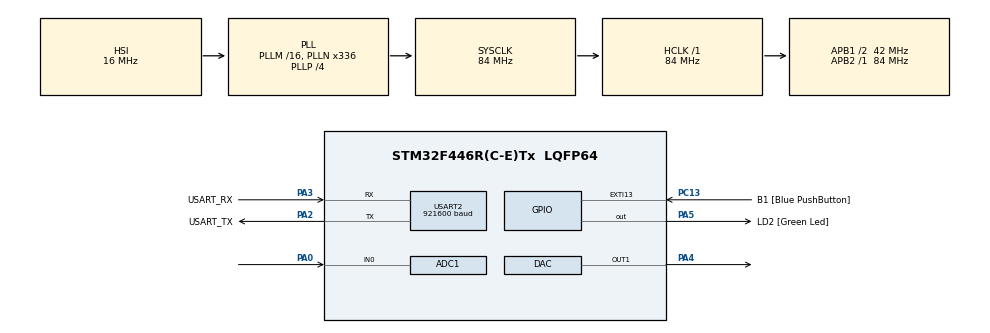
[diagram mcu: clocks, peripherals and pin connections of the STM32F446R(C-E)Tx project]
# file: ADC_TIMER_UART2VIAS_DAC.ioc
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ADC1.Channel-0\#ChannelRegularConversion=ADC_CHANNEL_0
ADC1.NbrOfConversionFlag=1
ADC1.Rank-0\#ChannelRegularConversion=1
ADC1.SamplingTime-0\#ChannelRegularConversion=ADC_SAMPLETIME_3CYCLES
ADC1.master=1
Dma.Request0=USART2_RX
Dma.USART2_RX.0.Direction=DMA_PERIPH_TO_MEMORY
Dma.USART2_RX.0.FIFOMode=DMA_FIFOMODE_DISABLE
Dma.USART2_RX.0.Instance=DMA1_Stream5
Dma.USART2_RX.0.MemDataAlignment=DMA_MDATAALIGN_BYTE
Dma.USART2_RX.0.MemInc=DMA_MINC_ENABLE
Dma.USART2_RX.0.Mode=DMA_NORMAL
Dma.USART2_RX.0.PeriphDataAlignment=DMA_PDATAALIGN_BYTE
Dma.USART2_RX.0.PeriphInc=DMA_PINC_DISABLE
Dma.USART2_RX.0.Priority=DMA_PRIORITY_LOW
Mcu.Family=STM32F4
Mcu.Name=STM32F446R(C-E)Tx
Mcu.Package=LQFP64
NVIC.DMA1_Stream5_IRQn=true\:0\:0\:false\:false\:true\:false\:true\:true
NVIC.PriorityGroup=NVIC_PRIORITYGROUP_1
NVIC.TIM1_UP_TIM10_IRQn=true\:1\:0\:true\:false\:true\:true\:true\:true
NVIC.USART2_IRQn=true\:0\:0\:true\:false\:true\:true\:true\:true
PA0-WKUP.Signal=ADCx_IN0
PA13.GPIO_Label=TMS
PA13.Mode=Serial_Wire
PA13.Signal=SYS_JTMS-SWDIO
PA14.GPIO_Label=TCK
PA14.Mode=Serial_Wire
PA14.Signal=SYS_JTCK-SWCLK
PA2.GPIO_Label=USART_TX
PA2.Mode=Asynchronous
PA2.Signal=USART2_TX
PA3.GPIO_Label=USART_RX
PA3.Mode=Asynchronous
PA3.Signal=USART2_RX
PA4.Signal=COMP_DAC1_group
PA5.GPIO_Label=LD2 [Green Led]
PA5.Signal=GPIO_Output
PB3.GPIO_Label=SWO
PB3.Signal=SYS_JTDO-SWO
PC13.GPIO_Label=B1 [Blue PushButton]
PC13.GPIO_ModeDefaultEXTI=GPIO_MODE_IT_FALLING
PC13.Signal=GPXTI13
PC14-OSC32_IN.Mode=LSE-External-Oscillator
PC14-OSC32_IN.Signal=RCC_OSC32_IN
PC15-OSC32_OUT.Mode=LSE-External-Oscillator
PC15-OSC32_OUT.Signal=RCC_OSC32_OUT
PH0-OSC_IN.Mode=HSE-External-Oscillator
PH0-OSC_IN.Signal=RCC_OSC_IN
PH1-OSC_OUT.Mode=HSE-External-Oscillator
PH1-OSC_OUT.Signal=RCC_OSC_OUT
ProjectManager.HeapSize=0x200
ProjectManager.StackSize=0x400
ProjectManager.TargetToolchain=STM32CubeIDE
RCC.48MHZClocksFreq_Value=84000000
RCC.AHBFreq_Value=84000000
RCC.APB1CLKDivider=RCC_HCLK_DIV2
RCC.APB1Freq_Value=42000000
RCC.APB1TimFreq_Value=84000000
RCC.APB2Freq_Value=84000000
RCC.APB2TimFreq_Value=84000000
RCC.CortexFreq_Value=84000000
RCC.FLatency-AdvancedSettings=FLASH_LATENCY_2
RCC.HCLKFreq_Value=84000000
RCC.HSE_VALUE=8000000
RCC.HSI_VALUE=16000000
RCC.PLLN=336
RCC.PLLP=RCC_PLLP_DIV4
RCC.SYSCLKFreq_VALUE=84000000
RCC.SYSCLKSource=RCC_SYSCLKSOURCE_PLLCLK
RCC.USBFreq_Value=168000000
RCC.VCOOutputFreq_Value=336000000
SH.ADCx_IN0.0=ADC1_IN0,IN0
SH.COMP_DAC1_group.0=DAC_OUT1,DAC_OUT1
TIM10.Prescaler=8399
USART2.BaudRate=921600
USART2.VirtualMode=VM_ASYNC
VP_TIM10_VS_ClockSourceINT.Mode=Enable_Timer
board=NUCLEO-F446RE

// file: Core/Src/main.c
/* USER CODE BEGIN Header */
/*
 * ADC_TIMER_UART
 * Proyecto que muestra el uso del ADC en el STM32F446RE. La lectura se hace
 * dentro de la rutina de interrupción de un temporizador para que sea a una frecuencia constante.
 * Las conversiones se envían por UART, para poder ser leídas en una computadora.
 *
 * Basado en los ejemplos ADC_IT y TIM_IT del curso MOOC - STM32CubeMX and STM32Cube HAL basics
 * Modificado por Pedro Joaquín Castillo
 *
 * Para hacer uso de este programa se debe conectar un potenciómetro en configuración de
 * divisor de voltaje a los 3.3V de la placa NUCLEOF446RE.
 * La pata de en medio debe conectarse al pin PA0.
 * Consulten el diagrama esquemático de la placa NUCLEO para mayor detalle de la conexión
 * de los pines.
 */
/**
  ******************************************************************************
  * @file           : main.c
  * @brief          : Main program body
  ******************************************************************************
  * @attention
  *
  * Copyright (c) 2025 STMicroelectronics.
  * All rights reserved.
  *
  * This software is licensed under terms that can be found in the LICENSE file
  * in the root directory of this software component.
  * If no LICENSE file comes with this software, it is provided AS-IS.
  *
  ******************************************************************************
  */
/* USER CODE END Header */
#include "main.h"

/* USER CODE BEGIN Includes */
//Importante incluir estas librerías para evitar mensajes de alerta al momento del "build"
//Contienen funciones para enviar mensajes por puerto COM
#include <stdio.h>
#include <string.h>
#include <stdlib.h>

/* USER CODE END Includes */

ADC_HandleTypeDef hadc1;

DAC_HandleTypeDef hdac;

TIM_HandleTypeDef htim10;

UART_HandleTypeDef huart2;
DMA_HandleTypeDef hdma_usart2_rx;

/* USER CODE BEGIN PV */

#define ORDER_MAX 4
#define L_COEF (ORDER_MAX + 1)

#define COEF_SIZE 12
#define TOTAL_COEFS (2 * L_COEF)		//Tamaño del coeficiente a recibir

//Arreglo para almacenar las conversiones del ADC
uint16_t adc_value;
char msg[30]; //Buffer para el mensaje a enviar por UART (debe ser del tamaño adecuado para que quepan todos
//caracteres a enviar)
uint8_t rec[COEF_SIZE + 1]; //Buffer para la recepción de datos

//FRECUENCIA DE MUESTREO
//OJO: LA CONFIGURACIÓN ACTUAL PERMITE UNA Fs MÁXIMA DE 10kHz.
//SI SE DESEA UNA FRECUENCIA MÁS ALTA SE DEBE CAMBIAR LA CONFIGURACIÓN
uint16_t Fs = 1000; //En Hz
uint32_t timer_clk;
uint32_t pclk;

uint8_t orden = 1;
uint8_t idx = 0;

float coef_a[L_COEF] = {1, 0, 0, 0, 0};
float coef_b[L_COEF] = {1, 0, 0, 0, 0}; // Recibidos por UART

// Inicialización de variables del filtro
float x_n;
float y_n;
float y_n_1 = 0;
float x_n_1 = 0;
float y_n_2 = 0;
float x_n_2 = 0;
float y_n_3 = 0;
float x_n_3 = 0;
float y_n_4 = 0;
float x_n_4 = 0;

/* USER CODE END PV */

void SystemClock_Config(void);
static void MX_GPIO_Init(void);
static void MX_DMA_Init(void);
static void MX_ADC1_Init(void);
static void MX_TIM10_Init(void);
static void MX_USART2_UART_Init(void);
static void MX_DAC_Init(void);

/* USER CODE BEGIN 0 */

//Callback para la interrupción de TIM10
void HAL_TIM_PeriodElapsedCallback(TIM_HandleTypeDef *htim){
	HAL_ADC_Start(&hadc1);  //Inicializa la conversión ADC1
	HAL_ADC_PollForConversion(&hadc1, HAL_MAX_DELAY); //Se espera a que se complete la conversión
	adc_value = HAL_ADC_GetValue(&hadc1); //Se asigna el valor en la variable correspondiente
	sprintf(msg, "%d\n", adc_value); //Se prepara el mensaje...
	HAL_UART_Transmit_IT(&huart2,(uint8_t*)msg, strlen(msg)); //...y se envía por UART
	//En la línea de arriba se usa la opción con IT para evitar "ocupar" al procesador enviando el mensaje

	x_n = adc_value;

	// Código para aplicar los coeficientes al filtro
	y_n = coef_b[0]*x_n+coef_b[1]*x_n_1+coef_b[2]*x_n_2+coef_b[3]*x_n_3+coef_b[4]*x_n_4+coef_a[0]+coef_a[1]*y_n_1+coef_a[2]*y_n_2+coef_a[3]*y_n_3+coef_a[4]*y_n_4; // Se coloca la forma general de la función de transferencia
	y_n_1 = y_n;
	y_n_2 = y_n_1;
	y_n_3 = y_n_2;
	y_n_4 = y_n_3;
	x_n_1 = x_n;
	x_n_2 = x_n_1;
	x_n_3 = x_n_2;
	x_n_4 = x_n_3;// memoria de la función de transferencia

	// Lo siguiente es para asegurarse de que el valor que se envíe al DAC esté en
	// el intervalo adecuado (el DAC es de 12 bits)
	if(y_n > 4095.0){
		y_n = 4095.0;
	}
	else if(y_n < 0.0){
		y_n = 0.0;
	}

	//Se envía un valor de 12 bits alineado a la derecha al DAC (note el casting a entero que se le aplica  y_n
	HAL_DAC_SetValue(&hdac, DAC_CHANNEL_1, DAC_ALIGN_12B_R, (uint16_t)y_n);
}

void HAL_UART_RxCpltCallback(UART_HandleTypeDef *huart)
{
	if (huart->Instance == USART2)
	{
		rec[COEF_SIZE] = '\0'; // Convierte el arreglo recibido en string

		float coef = atof((char*)rec); // Convierte el texto recibido a float

		// MATLAB manda primero los coeficientes a
		if (idx < L_COEF)
		{
			coef_a[idx] = coef;
		}
		// Luego manda los coeficientes b
		else if (idx < TOTAL_COEFS)
		{
			coef_b[idx - L_COEF] = coef;
		}

		idx++;

		// Cuando ya recibió todos los coeficientes, reinicia el contador
		if (idx >= TOTAL_COEFS)
		{
			idx = 0;
		}

		// Se prepara la siguiente recepción de 8 caracteres
		HAL_UART_Receive_DMA(&huart2, rec, COEF_SIZE);
	}
}

/* USER CODE END 0 */

int main(void)
{

  /* MCU Configuration--------------------------------------------------------*/

  /* Reset of all peripherals, Initializes the Flash interface and the Systick. */
  HAL_Init();

  /* Configure the system clock */
  SystemClock_Config();

  /* Initialize all configured peripherals */
  MX_GPIO_Init();
  MX_DMA_Init();
  MX_ADC1_Init();
  MX_TIM10_Init();
  MX_USART2_UART_Init();
  MX_DAC_Init();
  /* USER CODE BEGIN 2 */
  HAL_DAC_Start(&hdac, DAC_CHANNEL_1); //Inicializa el Canal 1 del DAC
  HAL_TIM_Base_Start_IT(&htim10); //Esto inicializa el TIM10 y habilita la interrupción
  HAL_UART_Receive_DMA(&huart2, rec, COEF_SIZE); //Se configura la recepción del UART con DMA
  /* USER CODE END 2 */

  /* Infinite loop */
  while (1)
  {

  }
}

void SystemClock_Config(void)
{
  RCC_OscInitTypeDef RCC_OscInitStruct = {0};
  RCC_ClkInitTypeDef RCC_ClkInitStruct = {0};

  /** Configure the main internal regulator output voltage
  */
  __HAL_RCC_PWR_CLK_ENABLE();
  __HAL_PWR_VOLTAGESCALING_CONFIG(PWR_REGULATOR_VOLTAGE_SCALE3);

  /** Initializes the RCC Oscillators according to the specified parameters
  * in the RCC_OscInitTypeDef structure.
  */
  RCC_OscInitStruct.OscillatorType = RCC_OSCILLATORTYPE_HSI;
  RCC_OscInitStruct.HSIState = RCC_HSI_ON;
  RCC_OscInitStruct.HSICalibrationValue = RCC_HSICALIBRATION_DEFAULT;
  RCC_OscInitStruct.PLL.PLLState = RCC_PLL_ON;
  RCC_OscInitStruct.PLL.PLLSource = RCC_PLLSOURCE_HSI;
  RCC_OscInitStruct.PLL.PLLM = 16;
  RCC_OscInitStruct.PLL.PLLN = 336;
  RCC_OscInitStruct.PLL.PLLP = RCC_PLLP_DIV4;
  RCC_OscInitStruct.PLL.PLLQ = 2;
  RCC_OscInitStruct.PLL.PLLR = 2;
  if (HAL_RCC_OscConfig(&RCC_OscInitStruct) != HAL_OK)
  {
    Error_Handler();
  }

  /** Initializes the CPU, AHB and APB buses clocks
  */
  RCC_ClkInitStruct.ClockType = RCC_CLOCKTYPE_HCLK|RCC_CLOCKTYPE_SYSCLK
                              |RCC_CLOCKTYPE_PCLK1|RCC_CLOCKTYPE_PCLK2;
  RCC_ClkInitStruct.SYSCLKSource = RCC_SYSCLKSOURCE_PLLCLK;
  RCC_ClkInitStruct.AHBCLKDivider = RCC_SYSCLK_DIV1;
  RCC_ClkInitStruct.APB1CLKDivider = RCC_HCLK_DIV2;
  RCC_ClkInitStruct.APB2CLKDivider = RCC_HCLK_DIV1;

  if (HAL_RCC_ClockConfig(&RCC_ClkInitStruct, FLASH_LATENCY_2) != HAL_OK)
  {
    Error_Handler();
  }
}

static void MX_ADC1_Init(void)
{

  ADC_ChannelConfTypeDef sConfig = {0};

  /** Configure the global features of the ADC (Clock, Resolution, Data Alignment and number of conversion)
  */
  hadc1.Instance = ADC1;
  hadc1.Init.ClockPrescaler = ADC_CLOCK_SYNC_PCLK_DIV4;
  hadc1.Init.Resolution = ADC_RESOLUTION_12B;
  hadc1.Init.ScanConvMode = DISABLE;
  hadc1.Init.ContinuousConvMode = DISABLE;
  hadc1.Init.DiscontinuousConvMode = DISABLE;
  hadc1.Init.ExternalTrigConvEdge = ADC_EXTERNALTRIGCONVEDGE_NONE;
  hadc1.Init.ExternalTrigConv = ADC_SOFTWARE_START;
  hadc1.Init.DataAlign = ADC_DATAALIGN_RIGHT;
  hadc1.Init.NbrOfConversion = 1;
  hadc1.Init.DMAContinuousRequests = DISABLE;
  hadc1.Init.EOCSelection = ADC_EOC_SINGLE_CONV;
  if (HAL_ADC_Init(&hadc1) != HAL_OK)
  {
    Error_Handler();
  }

  /** Configure for the selected ADC regular channel its corresponding rank in the sequencer and its sample time.
  */
  sConfig.Channel = ADC_CHANNEL_0;
  sConfig.Rank = 1;
  sConfig.SamplingTime = ADC_SAMPLETIME_3CYCLES;
  if (HAL_ADC_ConfigChannel(&hadc1, &sConfig) != HAL_OK)
  {
    Error_Handler();
  }

}

static void MX_DAC_Init(void)
{

  DAC_ChannelConfTypeDef sConfig = {0};

  /** DAC Initialization
  */
  hdac.Instance = DAC;
  if (HAL_DAC_Init(&hdac) != HAL_OK)
  {
    Error_Handler();
  }

  /** DAC channel OUT1 config
  */
  sConfig.DAC_Trigger = DAC_TRIGGER_NONE;
  sConfig.DAC_OutputBuffer = DAC_OUTPUTBUFFER_ENABLE;
  if (HAL_DAC_ConfigChannel(&hdac, &sConfig, DAC_CHANNEL_1) != HAL_OK)
  {
    Error_Handler();
  }

}

static void MX_TIM10_Init(void)
{

  /* USER CODE BEGIN TIM10_Init 0 */

	//Se obtiene la frecuencia del CLK que controla el TIM10
	pclk = HAL_RCC_GetPCLK2Freq();
	if ((RCC->CFGR & RCC_CFGR_PPRE2) != RCC_CFGR_PPRE2_DIV1) {
	    timer_clk = pclk * 2;  // Si el divisor es diferente a 1, se duplica la frecuencia del reloj
	} else {
	    timer_clk = pclk; //Si el divisor es 1, se mantiene igual
	}

	htim10.Init.Prescaler = 8399;
	//OJO: La siguiente línea de código permite modificar la frecuencia de muestreo al sólo cambiar Fs.
	//Note que la línea que configura el período está comentada en la sección de configuración del TIM10.
	//Si se genera nuevo código, debe comentar la línea en donde se asigna el valor del htim10.Init.Period en la
	//configuración del Timer.
	htim10.Init.Period = ((timer_clk / (htim10.Init.Prescaler + 1)) / Fs) - 1;
  /* USER CODE END TIM10_Init 0 */

  htim10.Instance = TIM10;
  htim10.Init.Prescaler = 8399;
  htim10.Init.CounterMode = TIM_COUNTERMODE_UP;
  //htim10.Init.Period = 65535;
  htim10.Init.ClockDivision = TIM_CLOCKDIVISION_DIV1;
  htim10.Init.AutoReloadPreload = TIM_AUTORELOAD_PRELOAD_DISABLE;
  if (HAL_TIM_Base_Init(&htim10) != HAL_OK)
  {
    Error_Handler();
  }

}

static void MX_USART2_UART_Init(void)
{

  huart2.Instance = USART2;
  huart2.Init.BaudRate = 921600;
  huart2.Init.WordLength = UART_WORDLENGTH_8B;
  huart2.Init.StopBits = UART_STOPBITS_1;
  huart2.Init.Parity = UART_PARITY_NONE;
  huart2.Init.Mode = UART_MODE_TX_RX;
  huart2.Init.HwFlowCtl = UART_HWCONTROL_NONE;
  huart2.Init.OverSampling = UART_OVERSAMPLING_16;
  if (HAL_UART_Init(&huart2) != HAL_OK)
  {
    Error_Handler();
  }

}

static void MX_DMA_Init(void)
{

  /* DMA controller clock enable */
  __HAL_RCC_DMA1_CLK_ENABLE();

  /* DMA interrupt init */
  /* DMA1_Stream5_IRQn interrupt configuration */
  HAL_NVIC_SetPriority(DMA1_Stream5_IRQn, 0, 0);
  HAL_NVIC_EnableIRQ(DMA1_Stream5_IRQn);

}

static void MX_GPIO_Init(void)
{
  GPIO_InitTypeDef GPIO_InitStruct = {0};

  /* GPIO Ports Clock Enable */
  __HAL_RCC_GPIOC_CLK_ENABLE();
  __HAL_RCC_GPIOH_CLK_ENABLE();
  __HAL_RCC_GPIOA_CLK_ENABLE();
  __HAL_RCC_GPIOB_CLK_ENABLE();

  /*Configure GPIO pin Output Level */
  HAL_GPIO_WritePin(LD2_GPIO_Port, LD2_Pin, GPIO_PIN_RESET);

  /*Configure GPIO pin : B1_Pin */
  GPIO_InitStruct.Pin = B1_Pin;
  GPIO_InitStruct.Mode = GPIO_MODE_IT_FALLING;
  GPIO_InitStruct.Pull = GPIO_NOPULL;
  HAL_GPIO_Init(B1_GPIO_Port, &GPIO_InitStruct);

  /*Configure GPIO pin : LD2_Pin */
  GPIO_InitStruct.Pin = LD2_Pin;
  GPIO_InitStruct.Mode = GPIO_MODE_OUTPUT_PP;
  GPIO_InitStruct.Pull = GPIO_NOPULL;
  GPIO_InitStruct.Speed = GPIO_SPEED_FREQ_LOW;
  HAL_GPIO_Init(LD2_GPIO_Port, &GPIO_InitStruct);

}

void Error_Handler(void)
{
  __disable_irq();
  while (1)
  {
  }
}
